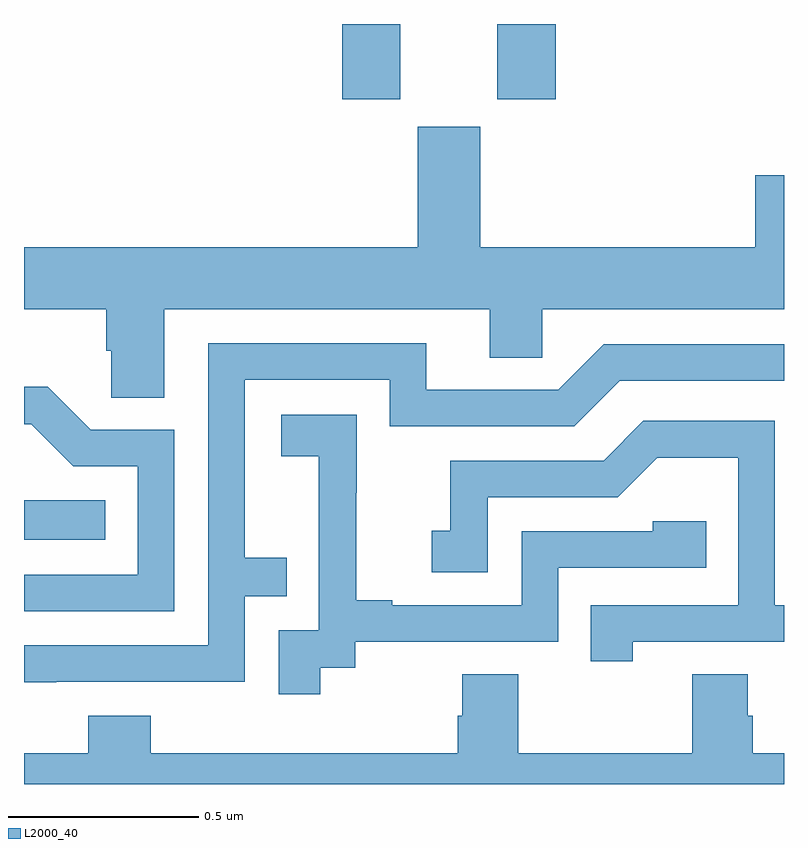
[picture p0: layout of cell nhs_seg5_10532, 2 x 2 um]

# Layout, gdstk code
import gdstk
lib = gdstk.Library(unit=1e-6, precision=1e-09)
def R(c, l, rs):  # rectangles x0, y0, x1, y1
    for r in rs: c.add(gdstk.rectangle(r[:2], r[2:], *l))
def P(c, l, *ps):  # polygons
    for p in ps: c.add(gdstk.Polygon(p, *l))
L2000_40 = (2000, 40)

nhs_seg5_10532 = lib.new_cell('nhs_seg5_10532')
R(nhs_seg5_10532, L2000_40, [(247,901.442,247.214,901.546), (247.838,902.601,247.99,902.799), (248.246,902.601,248.399,902.799)])
P(nhs_seg5_10532, L2000_40, [(247.369,902.048),(248.225,902.048),(248.225,901.921),(248.364,901.921),(248.364,902.048),(249,902.048),(249,902.401),(248.924,902.401),(248.924,902.212),(248.2,902.212),(248.2,902.529),(248.036,902.529),(248.036,902.212),(247,902.212),(247,902.048),(247.217,902.048),(247.217,901.939),(247.23,901.939),(247.23,901.816),(247.369,901.816)],
  [(247.085,901.068),(247.581,901.068),(247.581,901.293),(247.691,901.293),(247.691,901.394),(247.581,901.394),(247.581,901.863),(247.962,901.863),(247.962,901.74),(248.448,901.74),(248.568,901.86),(249,901.86),(249,901.956),(248.526,901.956),(248.406,901.836),(248.059,901.836),(248.059,901.959),(247.485,901.959),(247.485,901.164),(247,901.164),(247,901.067),(247.085,901.067)],
  [(247.395,901.731),(247.176,901.731),(247.063,901.844),(247,901.844),(247,901.746),(247.019,901.746),(247.13,901.635),(247.299,901.635),(247.299,901.35),(247,901.35),(247,901.254),(247.395,901.254)],
  [(247.78,901.105),(247.872,901.105),(247.872,901.173),(248.406,901.173),(248.406,901.368),(248.795,901.368),(248.795,901.491),(248.655,901.491),(248.655,901.464),(248.31,901.464),(248.31,901.269),(247.969,901.269),(247.969,901.282),(247.874,901.282),(247.874,901.565),(247.875,901.565),(247.875,901.771),(247.677,901.771),(247.677,901.661),(247.775,901.661),(247.775,901.433),(247.776,901.433),(247.776,901.203),(247.671,901.203),(247.671,901.035),(247.78,901.035)],
  [(248.602,901.173),(249,901.173),(249,901.269),(248.976,901.269),(248.976,901.755),(248.63,901.755),(248.525,901.65),(248.122,901.65),(248.122,901.465),(248.073,901.465),(248.073,901.356),(248.22,901.356),(248.22,901.554),(248.562,901.554),(248.666,901.658),(248.88,901.658),(248.88,901.269),(248.491,901.269),(248.491,901.122),(248.602,901.122)],
  [(249,900.88),(248.918,900.88),(248.918,900.978),(248.905,900.978),(248.905,901.088),(248.758,901.088),(248.758,900.88),(248.301,900.88),(248.301,901.088),(248.153,901.088),(248.153,900.978),(248.141,900.978),(248.141,900.88),(247.334,900.88),(247.334,900.979),(247.169,900.979),(247.169,900.88),(247,900.88),(247,900.799),(249,900.799)])

lib.write_gds('nhs_seg5_10532.gds')
